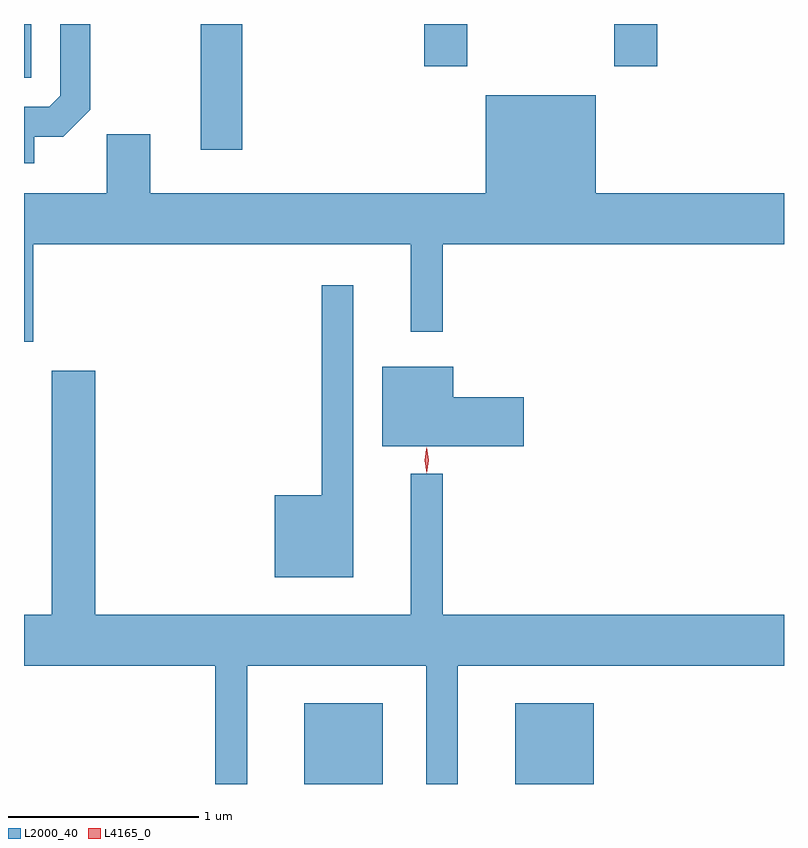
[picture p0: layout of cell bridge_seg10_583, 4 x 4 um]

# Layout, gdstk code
import gdstk
lib = gdstk.Library(unit=1e-6, precision=1e-09)
def R(c, l, rs):  # rectangles x0, y0, x1, y1
    for r in rs: c.add(gdstk.rectangle(r[:2], r[2:], *l))
def P(c, l, *ps):  # polygons
    for p in ps: c.add(gdstk.Polygon(p, *l))
L2000_40 = (2000, 40)
L4165_0 = (4165, 0)

bridge_seg10_583 = lib.new_cell('bridge_seg10_583')
R(bridge_seg10_583, L2000_40, [(751.951,2108.854,752.364,2109.279), (753.061,2108.854,753.474,2109.279), (751.406,2112.191,751.624,2112.854), (750.475,2112.571,750.514,2112.854), (752.581,2112.631,752.809,2112.854), (753.581,2112.631,753.809,2112.854)])
P(bridge_seg10_583, L2000_40, [(750.529,2112.261),(750.682,2112.261),(750.824,2112.404),(750.824,2112.854),(750.666,2112.854),(750.666,2112.477),(750.609,2112.419),(750.475,2112.419),(750.475,2112.121),(750.529,2112.121)],
  [(750.524,2111.696),(752.511,2111.696),(752.511,2111.233),(752.679,2111.233),(752.679,2111.696),(754.475,2111.696),(754.475,2111.964),(753.484,2111.964),(753.484,2112.479),(752.906,2112.479),(752.906,2111.964),(751.139,2111.964),(751.139,2112.274),(750.911,2112.274),(750.911,2111.964),(750.475,2111.964),(750.475,2111.181),(750.524,2111.181)],
  [(752.209,2111.478),(752.041,2111.478),(752.041,2110.374),(751.796,2110.374),(751.796,2109.941),(752.209,2109.941)],
  [(753.104,2110.889),(752.734,2110.889),(752.734,2111.049),(752.361,2111.049),(752.361,2110.631),(753.104,2110.631)],
  [(751.649,2109.476),(752.591,2109.476),(752.591,2108.854),(752.759,2108.854),(752.759,2109.476),(754.475,2109.476),(754.475,2109.744),(752.679,2109.744),(752.679,2110.488),(752.511,2110.488),(752.511,2109.744),(750.849,2109.744),(750.849,2111.029),(750.621,2111.029),(750.621,2109.744),(750.475,2109.744),(750.475,2109.476),(751.481,2109.476),(751.481,2108.854),(751.649,2108.854)])
P(bridge_seg10_583, L4165_0, [(752.594,2110.49),(752.585,2110.558),(752.594,2110.626),(752.595,2110.626),(752.595,2110.626),(752.605,2110.558),(752.595,2110.49),(752.595,2110.49)],
  [(752.595,2110.493),(752.594,2110.494),(752.584,2110.556),(752.593,2110.619),(752.594,2110.62),(752.594,2110.619),(752.604,2110.556),(752.595,2110.494)])

lib.write_gds('bridge_seg10_583.gds')
